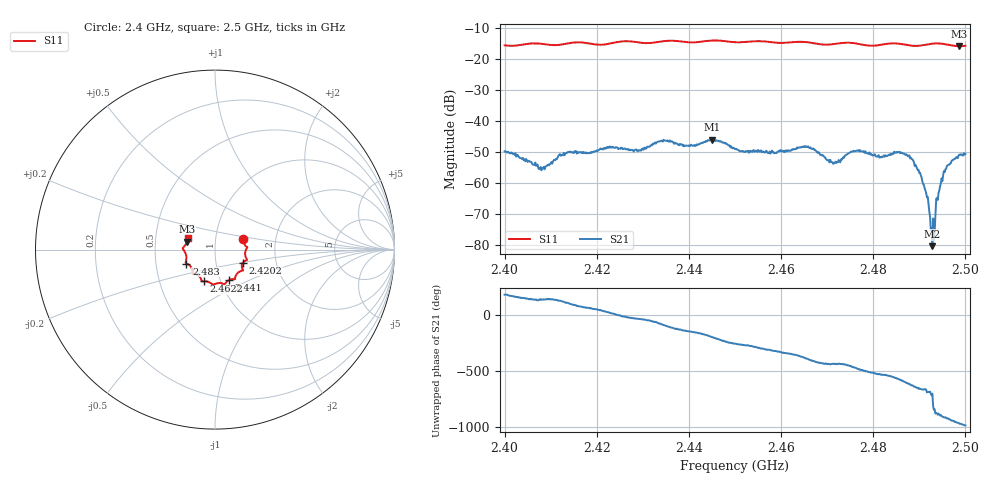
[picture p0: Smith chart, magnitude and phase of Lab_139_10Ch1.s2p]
# Hz S RI R 50
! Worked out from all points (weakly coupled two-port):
!   601 points, 2.4 GHz to 2.5 GHz, reference 50 ohm
!   highest |S21| = -46.01 dB at 2.445 GHz (marker M1); lowest = -80.4 dB at 2.4928 GHz (marker M2)
!   lowest |S11| = -15.8 dB at 2.4987 GHz (marker M3), VSWR 1.39, Z = 36.4 + j3.3 ohm
!   |S11| at or under -10 dB: start of sweep to end of sweep
!   S12 and S22 are empty: the file has one direction only
!   S11 on the Smith chart (normalised r, x): 2.4 GHz: 1.36, +0.17; 2.4202 GHz: 1.35, -0.20; 2.441 GHz: 1.09, -0.39; 2.4622 GHz: 0.83, -0.30; 2.483 GHz: 0.72, -0.12; 2.5 GHz: 0.73, +0.09
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2.4e9  0.1564 0.0604  -0.00324 0.000184  0 0  0 0
2.407833e9  0.1776 0.00908  -0.00132 0.00123  0 0  0 0
2.416667e9  0.1775 -0.0585  0.00101 0.00288  0 0  0 0
2.420167e9  0.1561 -0.0719  0.00237 0.00224  0 0  0 0
2.433333e9  0.1129 -0.1523  0.00113 -0.00452  0 0  0 0
2.441e9  0.0768 -0.1705  -0.00363 -0.00165  0 0  0 0
2.445e9  0.0541 -0.1928  -0.00473 0.00163  0 0  0 0
2.45e9  0.0267 -0.1863  -0.000649 0.00345  0 0  0 0
2.462167e9  -0.0631 -0.1765  0.00327 0.000606  0 0  0 0
2.466667e9  -0.0766 -0.1668  0.00223 -0.00282  0 0  0 0
2.4715e9  -0.1105 -0.1369  0.000404 -0.00208  0 0  0 0
2.476333e9  -0.125 -0.1283  -0.0015 -0.00292  0 0  0 0
2.483e9  -0.1592 -0.0781  -0.00273 0.000101  0 0  0 0
2.483333e9  -0.1608 -0.0774  -0.00278 0.000262  0 0  0 0
2.486e9  -0.1627 -0.0678  -0.00236 0.00205  0 0  0 0
2.488833e9  -0.16 -0.0373  0.000404 0.00213  0 0  0 0
2.491333e9  -0.1707 -0.00779  0.000406 0.000631  0 0  0 0
2.492833e9  -0.1781 0.00239  9.15e-05 2.56e-05  0 0  0 0
2.494167e9  -0.1795 0.00753  -0.000647 -0.000223  0 0  0 0
2.495167e9  -0.1766 0.0114  -0.0013 0.000244  0 0  0 0
2.498667e9  -0.1558 0.0442  -0.00101 0.00268  0 0  0 0
2.5e9  -0.1527 0.0627  -0.000167 0.00294  0 0  0 0
